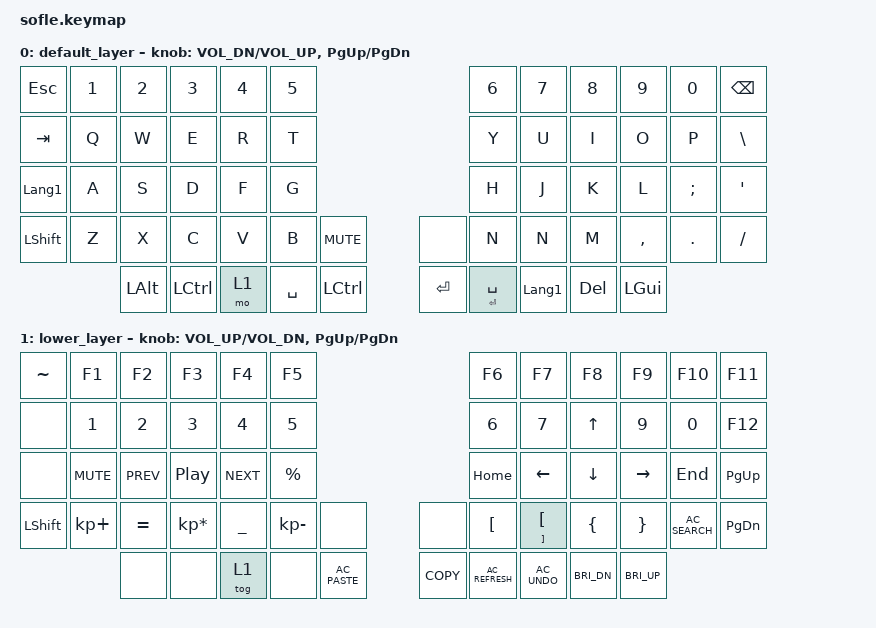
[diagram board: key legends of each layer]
/*
 * Copyright (c) 2020 The ZMK Contributors
 *
 * SPDX-License-Identifier: MIT
 */

#include <behaviors.dtsi>
#include <dt-bindings/zmk/keys.h>
#include <dt-bindings/zmk/bt.h>
#include <dt-bindings/zmk/rgb.h>
#include <dt-bindings/zmk/ext_power.h>

#define BASE 0
#define LOWER 1
/ {

     keymap {
        compatible = "zmk,keymap";

        default_layer {
// ------------------------------------------------------------------------------------------------------------
// |  ESC  |  1  |  2  |  3   |  4   |  5   |                   |  6   |  7    |  8    |  9   |   0   | BKSPC |
// |  TAB  |  Q  |  W  |  E   |  R   |  T   |                   |  Y   |  U    |  I    |  O   |   P   |  |   |
// |  LAG1 |  A  |  S  |  D   |  F   |  G   |                   |  H   |  J    |  K    |  L   |   ;   |   '   |
// | SHIFT |  Z  |  X  |  C   |  V   |  B   |  MUTE |  |       |     |  N   |  M    |  ,   |   .   | / |
//               | ALT | CTRL  | MO | SPACE | LCTL  |  | ENTER | SPACE | LAG1  | DEL   | GUI  |
            bindings = <
&kp ESC &kp N1 &kp N2   &kp N3   &kp N4    &kp N5                      &kp N6 &kp N7    &kp N8    &kp N9   &kp N0   &kp BSPC
&kp TAB  &kp Q  &kp W    &kp E    &kp R    &kp T                       &kp Y  &kp U     &kp I     &kp O    &kp P    &kp BSLH
&kp LANGUAGE_1  &kp A   &kp S    &kp D     &kp F     &kp G            &kp H  &kp J     &kp K     &kp L    &kp SEMI &kp SQT
&kp LSHFT &kp Z  &kp X    &kp C    &kp V   &kp B  &kp C_MUTE    &none &kp N &kp N &kp M   &kp COMMA &kp DOT &kp FSLH
                 &kp LALT &kp LCTRL &mo 1 &kp SPACE &kp LCTRL   &kp ENTER &mt ENTER SPACE  &kp LANGUAGE_1 &kp DEL  &kp LGUI
            >;

            sensor-bindings = <&inc_dec_kp C_VOL_DN C_VOL_UP &inc_dec_kp PG_UP PG_DN>;
        };

        lower_layer {
// ------------------------------------------------------------------------------------------------------------
// |  ~    |  F1 |  F2 |  F3  |  F4  |  F5  |                   |  F6  |  F7   |  F8   |  F9  |  F10  |  F11  |
// | RGB on/off  |  1  |   2 |   3  |   4  |   5  |                   |   6  |   7   |   UP   |   9  |    0  |  F12  |
// | RGB change | Mute | PRV | PlAY | NEXT  |  %   |                 |  Home  |  LEFT  |  DOWN   |  RIGHT  | END  |  PgUP  |
// | SHIFT |  +  |  =  |  *   |    _   |  -   |    |   |  |[ | ] | { | } | SRCH |   PgDn |
//             | BT | | OSL(0)|  |    | PASTE |      | COPY |RFRSH| UNDO | SCR-  | SCR+  |      
            bindings = <
&kp TILDE   &kp F1    &kp F2    &kp F3      &kp F4    &kp F5                                 &kp F6    &kp F7    &kp F8        &kp F9    &kp F10   &kp F11
&none &kp N1    &kp N2    &kp N3      &kp N4    &kp N5                                 &kp N6    &kp N7    &kp UP        &kp N9    &kp N0    &kp F12
&none &kp C_MUTE  &kp C_PREV    &kp C_PP    &kp C_NEXT  &kp PRCNT                      &kp HOME  &kp LEFT  &kp DOWN      &kp RIGHT &kp END  &kp PG_UP
&kp LSHFT &kp KP_PLUS &kp EQUAL  &kp KP_MULTIPLY &kp UNDER &kp KP_MINUS &none     &none  &kp LBKT  &mt RBKT  LBKT &kp LBRC  &kp RBRC  &kp C_AC_SEARCH  &kp PG_DN
            &none &none  &tog 1 &none &kp C_AC_PASTE                         &kp K_COPY &kp C_AC_REFRESH  &kp C_AC_UNDO      &kp C_BRI_DN     &kp C_BRI_UP
            >;

            sensor-bindings = <&inc_dec_kp C_VOL_UP C_VOL_DN &inc_dec_kp PG_UP PG_DN>;
        };

        
    };
};
